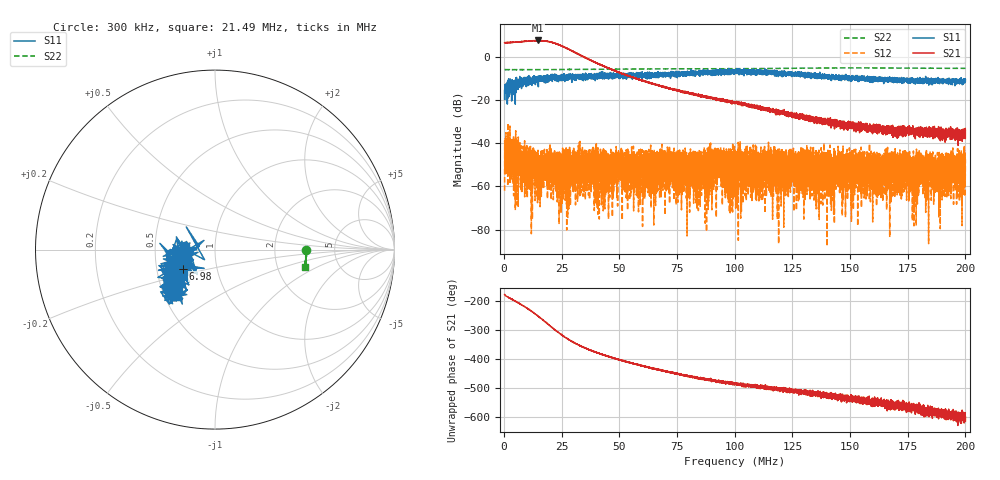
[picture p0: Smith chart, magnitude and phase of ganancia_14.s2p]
# Hz S DB R 50
! CMT, M5065, 19127446, 24.2.4/2
! Date: 11/8/2024 4:56:25 PM
! Data: Format (Calibration Info)
! Freq	S11:dB/Ang(F2)	S21:dB/Ang(F2)	S12:dB/Ang(F2)	S22:dB/Ang(F2)
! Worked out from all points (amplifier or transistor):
!   9000 points, 300 kHz to 200 MHz, reference 50 ohm
!   highest |S21| = 7.6 dB at 14.75 MHz (marker M1)
!   |S21| within 3 dB of that: start of sweep to 25.94 MHz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
!   unconditionally stable (mu >= 1): start of sweep to end of sweep
!   at 33.59 MHz: K = 190.62, MAG = 2.3 dB, |S12| = -55.8 dB
!   at 100.2 MHz: K = 4147.22, MAG = -18.8 dB, |S12| = -62.1 dB
!   at 200 MHz: K = 3768.03, MAG = -32.0 dB, |S12| = -47.5 dB
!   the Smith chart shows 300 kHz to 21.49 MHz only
!   S11 on the Smith chart (normalised r, x): 300 kHz: 0.71, +0.03; 6.98 MHz: 0.68, -0.15; 21.49 MHz: 0.58, -0.35
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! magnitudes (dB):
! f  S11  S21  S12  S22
! 300 kHz  -15.5  6.6  -62.0  -5.9
! 1.321 MHz  -16.0  6.7  -45.3  -5.9
! 6.98 MHz  -13.6  7.0  -39.8  -5.9
! 14.75 MHz  -9.8  7.6  -53.3  -5.9
! 21.49 MHz  -9.4  6.6  -49.9  -5.9
! 33.59 MHz  -10.1  0.6  -55.8  -5.7
! 66.87 MHz  -7.4  -13.2  -51.9  -5.5
! 80.06 MHz  -8.1  -16.6  -57.2  -5.5
! 81.1 MHz  -6.7  -16.8  -50.3  -5.5
! 84.09 MHz  -7.6  -17.7  -46.1  -5.5
! 93.08 MHz  -6.2  -19.8  -48.6  -5.4
! 96.88 MHz  -7.0  -20.4  -60.0  -5.4
! 100.2 MHz  -6.7  -21.3  -62.1  -5.4
! 133.4 MHz  -9.2  -29.2  -60.2  -5.2
! 166.7 MHz  -11.3  -35.1  -50.8  -5.1
! 174.2 MHz  -10.5  -36.4  -50.7  -5.1
! 177.8 MHz  -11.2  -36.7  -51.2  -5.2
! 180.8 MHz  -11.2  -35.0  -58.0  -5.2
! 187.2 MHz  -11.6  -34.7  -55.9  -5.2
! 194.6 MHz  -10.6  -35.5  -42.2  -5.3
! 198.4 MHz  -11.3  -36.4  -59.6  -5.3
! 200 MHz  -10.5  -34.0  -47.5  -5.3
